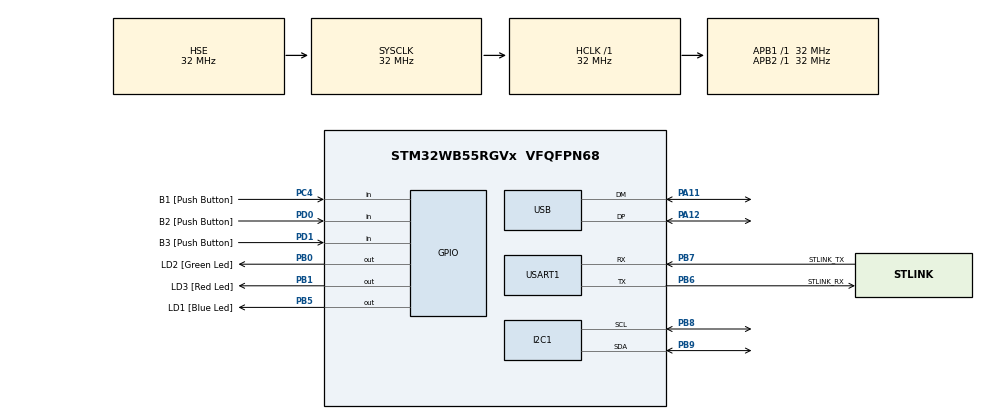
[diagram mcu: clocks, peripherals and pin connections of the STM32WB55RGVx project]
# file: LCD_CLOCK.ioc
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Mcu.Family=STM32WB
RCC.CortexFreq_Value=32000000
RCC.SMPSCLockSelectionVirtualVirtual=RCC_SMPSCLKSOURCE_HSI
USART1.WordLength=WORDLENGTH_7B
PA14.GPIO_Label=JTCK
PD0.GPIO_Label=B2 [Push Button]
PA11.Mode=Device
PB0.GPIO_Label=LD2 [Green Led]
PB6.GPIO_Label=STLINK_RX
RCC.SYSCLKSource=RCC_SYSCLKSOURCE_HSE
ProjectManager.StackSize=0x400
PA12.Signal=USB_DP
TIM1.Prescaler=3200
RCC.HCLKFreq_Value=32000000
RCC.APB2TimFreq_Value=32000000
PB6.Signal=USART1_TX
PB6.Mode=Asynchronous
PD0.Signal=GPIO_Input
OSC_OUT.Mode=HSE-External-Oscillator
OSC_OUT.Signal=RCC_OSC_OUT
RCC.AHBFreq_Value=32000000
RCC.HSE_VALUE=32000000
PB3.Mode=Trace_Asynchronous_SW
PD1.GPIO_Label=B3 [Push Button]
PC14-OSC32_IN.Mode=LSE-External-Oscillator
PC4.GPIO_Label=B1 [Push Button]
PA14.Mode=Trace_Asynchronous_SW
PB1.GPIO_Label=LD3 [Red Led]
PB7.Signal=USART1_RX
VP_TIM1_VS_ClockSourceINT.Mode=Internal
RCC.APB3Freq_Value=16000000
PB7.GPIO_Label=STLINK_TX
Mcu.Package=VFQFPN68
PB9.Signal=I2C1_SDA
TIM2.Prescaler=32
PB1.Signal=GPIO_Output
PB5.GPIO_Label=LD1 [Blue Led]
RCC.APB1TimFreq_Value=32000000
TIM1.Period=10000
RCC.SMPSDivider=1
RCC.HSI48_VALUE=48000000
RCC.PLLSAI1N=24
PB3.GPIO_Label=JTDO
PB7.GPIO_PuPd=GPIO_PULLUP
PC15-OSC32_OUT.Mode=LSE-External-Oscillator
PC13.Signal=SYS_WKUP2
PB6.GPIO_PuPd=GPIO_PULLUP
PC4.Signal=GPIO_Input
PD1.Signal=GPIO_Input
PC14-OSC32_IN.Signal=RCC_OSC32_IN
USART1.VirtualMode-Asynchronous=VM_ASYNC
PA13.Signal=SYS_JTMS-SWDIO
ProjectManager.TargetToolchain=STM32CubeIDE
PB9.Mode=I2C
I2C1.Timing=0x00707CBB
OSC_IN.Signal=RCC_OSC_IN
RCC.USBFreq_Value=48000000
PC15-OSC32_OUT.Signal=RCC_OSC32_OUT
RCC.SMPSCLockSelectionVirtual=RCC_SMPSCLKSOURCE_HSI
board=NUCLEO-WB55RG
RCC.VCOOutputFreq_Value=128000000
RCC.APB2Freq_Value=32000000
VP_TIM2_VS_ClockSourceINT.Mode=Internal
RCC.ADCFreq_Value=48000000
PA13.Mode=Trace_Asynchronous_SW
PC13.Mode=SYS_WakeUp1
Mcu.Name=STM32WB55RGVx
PA13.GPIO_Label=JTMS
PB3.Signal=SYS_JTDO-SWO
RCC.SYSCLKFreq_VALUE=32000000
PB5.Signal=GPIO_Output
PA12.Mode=Device
OSC_IN.Mode=HSE-External-Oscillator
PB7.Mode=Asynchronous
PA11.Signal=USB_DM
PA14.Signal=SYS_JTCK-SWCLK
ProjectManager.HeapSize=0x200
RCC.HSI_VALUE=16000000
NVIC.TIM1_UP_TIM16_IRQn=true\:0\:0\:false\:false\:true\:true\:true
NVIC.PriorityGroup=NVIC_PRIORITYGROUP_4
RCC.PLLN=32
PB8.Mode=I2C
PB8.Signal=I2C1_SCL
RCC.APB1Freq_Value=32000000
PB0.Signal=GPIO_Output

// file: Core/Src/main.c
/* USER CODE BEGIN Header */
/**
 ******************************************************************************
 * @file           : main.c
 * @brief          : Main program body
 ******************************************************************************
 * @attention
 *
 * <h2><center>&copy; Copyright (c) 2021 STMicroelectronics.
 * All rights reserved.</center></h2>
 *
 * This software component is licensed by ST under BSD 3-Clause license,
 * the "License"; You may not use this file except in compliance with the
 * License. You may obtain a copy of the License at:
 *                        opensource.org/licenses/BSD-3-Clause
 *
 ******************************************************************************
 */
/* USER CODE END Header */
#include "main.h"

/* USER CODE BEGIN Includes */
#include "lcd.h"
/* USER CODE END Includes */

I2C_HandleTypeDef hi2c1;

TIM_HandleTypeDef htim1;
TIM_HandleTypeDef htim2;

UART_HandleTypeDef huart1;

PCD_HandleTypeDef hpcd_USB_FS;

/* USER CODE BEGIN PV */
static TextLCDType lcd;
static int paint;
static uint8_t sec1;
static uint8_t sec10;
static uint8_t min1;
static uint8_t min10;
static uint8_t h1;
static uint8_t h10;

/* USER CODE END PV */

void SystemClock_Config(void);
static void MX_GPIO_Init(void);
static void MX_USART1_UART_Init(void);
static void MX_USB_PCD_Init(void);
static void MX_I2C1_Init(void);
static void MX_TIM1_Init(void);
static void MX_TIM2_Init(void);

/* USER CODE BEGIN 0 */
void delay_us(uint32_t us){
	__HAL_TIM_SET_COUNTER(&htim2,0);
	while (__HAL_TIM_GET_COUNTER(&htim2) < us);
}

void HAL_TIM_PeriodElapsedCallback(TIM_HandleTypeDef *htim){
	if(htim->Instance==TIM1){
		HAL_GPIO_TogglePin(GPIOB,GPIO_PIN_0);
		if(++sec1>9){
			sec1=0;
			sec10++;
		}

		if(sec10 > 5){
			min1++;
			sec10 = 0;
		}

		if(min1 > 9)
		{
			min10++;
			min1=0;
		}

		if(min10>5){
			min10=0;
			h1++;
		}

		if(h1>9 && h10!=2){
			h1=0;
			h10++;
		}
		if(h1>3 && h10==2){
			h1=0;
			h10=0;
		}

		paint=1;
	}

}

/* USER CODE END 0 */

int main(void)
{

	/* MCU Configuration--------------------------------------------------------*/

	/* Reset of all peripherals, Initializes the Flash interface and the Systick. */
	HAL_Init();

	/* Configure the system clock */
	SystemClock_Config();

	/* Initialize all configured peripherals */
	MX_GPIO_Init();
	MX_USART1_UART_Init();
	MX_USB_PCD_Init();
	MX_I2C1_Init();
	MX_TIM1_Init();
	MX_TIM2_Init();
	/* USER CODE BEGIN 2 */
	HAL_TIM_Base_Start_IT(&htim1);
	HAL_TIM_Base_Start(&htim2);
	TextLCD_Init(&lcd, &hi2c1, 0x4E);
	TextLCD_Clear(&lcd);
	TextLCD_Home(&lcd);
	/* USER CODE END 2 */

	/* Infinite loop */
	/* USER CODE BEGIN WHILE */
	while (1)
	{
		if(paint==1){

		TextLCD_Clear(&lcd);
		TextLCD_Position(&lcd, 3, 0);
		TextLCD_Puts(&lcd, "Klockan ar: ");
		//TextLCD_Putchar(&lcd, (uint8_t) 'A');
		TextLCD_Position(&lcd, 4, 1);
		TextLCD_Putchar(&lcd, (uint8_t)'0'+h10);	//Set 10 hour digit
		TextLCD_Putchar(&lcd, (uint8_t)'0'+h1);	//Set 1 hour digit
		TextLCD_Putchar(&lcd, ':');
		TextLCD_Putchar(&lcd, (uint8_t)'0'+min10);	//Set 10 minute digit
		TextLCD_Putchar(&lcd, (uint8_t)'0'+min1);	//set 1 minute digit
		TextLCD_Putchar(&lcd, ':');
		TextLCD_Putchar(&lcd, (uint8_t)'0'+sec10);	//set 10 second digit
		TextLCD_Putchar(&lcd, (uint8_t) '0'+sec1);	//set 1 second digit
		paint=0;
		}

		/* USER CODE END WHILE */

	}
}

void SystemClock_Config(void)
{
	RCC_OscInitTypeDef RCC_OscInitStruct = {0};
	RCC_ClkInitTypeDef RCC_ClkInitStruct = {0};
	RCC_PeriphCLKInitTypeDef PeriphClkInitStruct = {0};

	/** Macro to configure the PLL multiplication factor
	 */
	__HAL_RCC_PLL_PLLM_CONFIG(RCC_PLLM_DIV1);
	/** Macro to configure the PLL clock source
	 */
	__HAL_RCC_PLL_PLLSOURCE_CONFIG(RCC_PLLSOURCE_MSI);
	/** Configure LSE Drive Capability
	 */
	HAL_PWR_EnableBkUpAccess();
	__HAL_RCC_LSEDRIVE_CONFIG(RCC_LSEDRIVE_LOW);
	/** Configure the main internal regulator output voltage
	 */
	__HAL_PWR_VOLTAGESCALING_CONFIG(PWR_REGULATOR_VOLTAGE_SCALE1);
	/** Initializes the RCC Oscillators according to the specified parameters
	 * in the RCC_OscInitTypeDef structure.
	 */
	RCC_OscInitStruct.OscillatorType = RCC_OSCILLATORTYPE_HSI|RCC_OSCILLATORTYPE_HSE
			|RCC_OSCILLATORTYPE_LSE|RCC_OSCILLATORTYPE_MSI;
	RCC_OscInitStruct.HSEState = RCC_HSE_ON;
	RCC_OscInitStruct.LSEState = RCC_LSE_ON;
	RCC_OscInitStruct.HSIState = RCC_HSI_ON;
	RCC_OscInitStruct.MSIState = RCC_MSI_ON;
	RCC_OscInitStruct.HSICalibrationValue = RCC_HSICALIBRATION_DEFAULT;
	RCC_OscInitStruct.MSICalibrationValue = RCC_MSICALIBRATION_DEFAULT;
	RCC_OscInitStruct.MSIClockRange = RCC_MSIRANGE_6;
	RCC_OscInitStruct.PLL.PLLState = RCC_PLL_NONE;
	if (HAL_RCC_OscConfig(&RCC_OscInitStruct) != HAL_OK)
	{
		Error_Handler();
	}
	/** Configure the SYSCLKSource, HCLK, PCLK1 and PCLK2 clocks dividers
	 */
	RCC_ClkInitStruct.ClockType = RCC_CLOCKTYPE_HCLK4|RCC_CLOCKTYPE_HCLK2
			|RCC_CLOCKTYPE_HCLK|RCC_CLOCKTYPE_SYSCLK
			|RCC_CLOCKTYPE_PCLK1|RCC_CLOCKTYPE_PCLK2;
	RCC_ClkInitStruct.SYSCLKSource = RCC_SYSCLKSOURCE_HSE;
	RCC_ClkInitStruct.AHBCLKDivider = RCC_SYSCLK_DIV1;
	RCC_ClkInitStruct.APB1CLKDivider = RCC_HCLK_DIV1;
	RCC_ClkInitStruct.APB2CLKDivider = RCC_HCLK_DIV1;
	RCC_ClkInitStruct.AHBCLK2Divider = RCC_SYSCLK_DIV1;
	RCC_ClkInitStruct.AHBCLK4Divider = RCC_SYSCLK_DIV1;

	if (HAL_RCC_ClockConfig(&RCC_ClkInitStruct, FLASH_LATENCY_1) != HAL_OK)
	{
		Error_Handler();
	}
	/** Initializes the peripherals clocks
	 */
	PeriphClkInitStruct.PeriphClockSelection = RCC_PERIPHCLK_SMPS|RCC_PERIPHCLK_USART1
			|RCC_PERIPHCLK_I2C1|RCC_PERIPHCLK_USB;
	PeriphClkInitStruct.PLLSAI1.PLLN = 24;
	PeriphClkInitStruct.PLLSAI1.PLLP = RCC_PLLP_DIV2;
	PeriphClkInitStruct.PLLSAI1.PLLQ = RCC_PLLQ_DIV2;
	PeriphClkInitStruct.PLLSAI1.PLLR = RCC_PLLR_DIV2;
	PeriphClkInitStruct.PLLSAI1.PLLSAI1ClockOut = RCC_PLLSAI1_USBCLK;
	PeriphClkInitStruct.Usart1ClockSelection = RCC_USART1CLKSOURCE_PCLK2;
	PeriphClkInitStruct.I2c1ClockSelection = RCC_I2C1CLKSOURCE_PCLK1;
	PeriphClkInitStruct.UsbClockSelection = RCC_USBCLKSOURCE_PLLSAI1;
	PeriphClkInitStruct.SmpsClockSelection = RCC_SMPSCLKSOURCE_HSI;
	PeriphClkInitStruct.SmpsDivSelection = RCC_SMPSCLKDIV_RANGE0;
	if (HAL_RCCEx_PeriphCLKConfig(&PeriphClkInitStruct) != HAL_OK)
	{
		Error_Handler();
	}
	/** Enable MSI Auto calibration
	 */
	HAL_RCCEx_EnableMSIPLLMode();
}

static void MX_I2C1_Init(void)
{

	hi2c1.Instance = I2C1;
	hi2c1.Init.Timing = 0x00707CBB;
	hi2c1.Init.OwnAddress1 = 0;
	hi2c1.Init.AddressingMode = I2C_ADDRESSINGMODE_7BIT;
	hi2c1.Init.DualAddressMode = I2C_DUALADDRESS_DISABLE;
	hi2c1.Init.OwnAddress2 = 0;
	hi2c1.Init.OwnAddress2Masks = I2C_OA2_NOMASK;
	hi2c1.Init.GeneralCallMode = I2C_GENERALCALL_DISABLE;
	hi2c1.Init.NoStretchMode = I2C_NOSTRETCH_DISABLE;
	if (HAL_I2C_Init(&hi2c1) != HAL_OK)
	{
		Error_Handler();
	}
	/** Configure Analogue filter
	 */
	if (HAL_I2CEx_ConfigAnalogFilter(&hi2c1, I2C_ANALOGFILTER_ENABLE) != HAL_OK)
	{
		Error_Handler();
	}
	/** Configure Digital filter
	 */
	if (HAL_I2CEx_ConfigDigitalFilter(&hi2c1, 0) != HAL_OK)
	{
		Error_Handler();
	}

}

static void MX_TIM1_Init(void)
{

	TIM_ClockConfigTypeDef sClockSourceConfig = {0};
	TIM_MasterConfigTypeDef sMasterConfig = {0};

	htim1.Instance = TIM1;
	htim1.Init.Prescaler = 3200;
	htim1.Init.CounterMode = TIM_COUNTERMODE_UP;
	htim1.Init.Period = 10000;
	htim1.Init.ClockDivision = TIM_CLOCKDIVISION_DIV1;
	htim1.Init.RepetitionCounter = 0;
	htim1.Init.AutoReloadPreload = TIM_AUTORELOAD_PRELOAD_DISABLE;
	if (HAL_TIM_Base_Init(&htim1) != HAL_OK)
	{
		Error_Handler();
	}
	sClockSourceConfig.ClockSource = TIM_CLOCKSOURCE_INTERNAL;
	if (HAL_TIM_ConfigClockSource(&htim1, &sClockSourceConfig) != HAL_OK)
	{
		Error_Handler();
	}
	sMasterConfig.MasterOutputTrigger = TIM_TRGO_RESET;
	sMasterConfig.MasterOutputTrigger2 = TIM_TRGO2_RESET;
	sMasterConfig.MasterSlaveMode = TIM_MASTERSLAVEMODE_DISABLE;
	if (HAL_TIMEx_MasterConfigSynchronization(&htim1, &sMasterConfig) != HAL_OK)
	{
		Error_Handler();
	}

}

static void MX_TIM2_Init(void)
{

	TIM_ClockConfigTypeDef sClockSourceConfig = {0};
	TIM_MasterConfigTypeDef sMasterConfig = {0};

	htim2.Instance = TIM2;
	htim2.Init.Prescaler = 32;
	htim2.Init.CounterMode = TIM_COUNTERMODE_UP;
	htim2.Init.Period = 4294967295;
	htim2.Init.ClockDivision = TIM_CLOCKDIVISION_DIV1;
	htim2.Init.AutoReloadPreload = TIM_AUTORELOAD_PRELOAD_DISABLE;
	if (HAL_TIM_Base_Init(&htim2) != HAL_OK)
	{
		Error_Handler();
	}
	sClockSourceConfig.ClockSource = TIM_CLOCKSOURCE_INTERNAL;
	if (HAL_TIM_ConfigClockSource(&htim2, &sClockSourceConfig) != HAL_OK)
	{
		Error_Handler();
	}
	sMasterConfig.MasterOutputTrigger = TIM_TRGO_RESET;
	sMasterConfig.MasterSlaveMode = TIM_MASTERSLAVEMODE_DISABLE;
	if (HAL_TIMEx_MasterConfigSynchronization(&htim2, &sMasterConfig) != HAL_OK)
	{
		Error_Handler();
	}

}

static void MX_USART1_UART_Init(void)
{

	huart1.Instance = USART1;
	huart1.Init.BaudRate = 115200;
	huart1.Init.WordLength = UART_WORDLENGTH_7B;
	huart1.Init.StopBits = UART_STOPBITS_1;
	huart1.Init.Parity = UART_PARITY_NONE;
	huart1.Init.Mode = UART_MODE_TX_RX;
	huart1.Init.HwFlowCtl = UART_HWCONTROL_NONE;
	huart1.Init.OverSampling = UART_OVERSAMPLING_16;
	huart1.Init.OneBitSampling = UART_ONE_BIT_SAMPLE_DISABLE;
	huart1.Init.ClockPrescaler = UART_PRESCALER_DIV1;
	huart1.AdvancedInit.AdvFeatureInit = UART_ADVFEATURE_NO_INIT;
	if (HAL_UART_Init(&huart1) != HAL_OK)
	{
		Error_Handler();
	}
	if (HAL_UARTEx_SetTxFifoThreshold(&huart1, UART_TXFIFO_THRESHOLD_1_8) != HAL_OK)
	{
		Error_Handler();
	}
	if (HAL_UARTEx_SetRxFifoThreshold(&huart1, UART_RXFIFO_THRESHOLD_1_8) != HAL_OK)
	{
		Error_Handler();
	}
	if (HAL_UARTEx_DisableFifoMode(&huart1) != HAL_OK)
	{
		Error_Handler();
	}

}

static void MX_USB_PCD_Init(void)
{

	hpcd_USB_FS.Instance = USB;
	hpcd_USB_FS.Init.dev_endpoints = 8;
	hpcd_USB_FS.Init.speed = PCD_SPEED_FULL;
	hpcd_USB_FS.Init.phy_itface = PCD_PHY_EMBEDDED;
	hpcd_USB_FS.Init.Sof_enable = DISABLE;
	hpcd_USB_FS.Init.low_power_enable = DISABLE;
	hpcd_USB_FS.Init.lpm_enable = DISABLE;
	hpcd_USB_FS.Init.battery_charging_enable = DISABLE;
	if (HAL_PCD_Init(&hpcd_USB_FS) != HAL_OK)
	{
		Error_Handler();
	}

}

static void MX_GPIO_Init(void)
{
	GPIO_InitTypeDef GPIO_InitStruct = {0};

	/* GPIO Ports Clock Enable */
	__HAL_RCC_GPIOC_CLK_ENABLE();
	__HAL_RCC_GPIOB_CLK_ENABLE();
	__HAL_RCC_GPIOA_CLK_ENABLE();
	__HAL_RCC_GPIOD_CLK_ENABLE();

	/*Configure GPIO pin Output Level */
	HAL_GPIO_WritePin(GPIOB, LD2_Pin|LD3_Pin|LD1_Pin, GPIO_PIN_RESET);

	/*Configure GPIO pin : B1_Pin */
	GPIO_InitStruct.Pin = B1_Pin;
	GPIO_InitStruct.Mode = GPIO_MODE_INPUT;
	GPIO_InitStruct.Pull = GPIO_NOPULL;
	HAL_GPIO_Init(B1_GPIO_Port, &GPIO_InitStruct);

	/*Configure GPIO pins : LD2_Pin LD3_Pin LD1_Pin */
	GPIO_InitStruct.Pin = LD2_Pin|LD3_Pin|LD1_Pin;
	GPIO_InitStruct.Mode = GPIO_MODE_OUTPUT_PP;
	GPIO_InitStruct.Pull = GPIO_NOPULL;
	GPIO_InitStruct.Speed = GPIO_SPEED_FREQ_LOW;
	HAL_GPIO_Init(GPIOB, &GPIO_InitStruct);

	/*Configure GPIO pins : B2_Pin B3_Pin */
	GPIO_InitStruct.Pin = B2_Pin|B3_Pin;
	GPIO_InitStruct.Mode = GPIO_MODE_INPUT;
	GPIO_InitStruct.Pull = GPIO_NOPULL;
	HAL_GPIO_Init(GPIOD, &GPIO_InitStruct);

}

void Error_Handler(void)
{
	__disable_irq();
	while (1)
	{
	}
}

/************************ (C) COPYRIGHT STMicroelectronics *****END OF FILE****/
